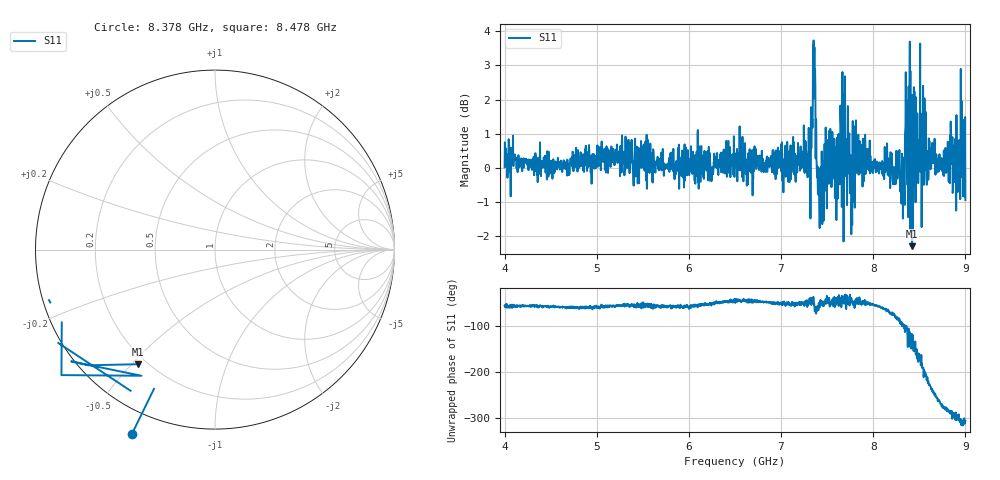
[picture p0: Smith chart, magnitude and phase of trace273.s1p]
! Created with skrf 1.8.0 (http://scikit-rf.org).
# Hz S RI R 50.0
!freq ReS11 ImS11
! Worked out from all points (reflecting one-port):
!   1601 points, 4 GHz to 9 GHz, reference 50 ohm
!   lowest |S11| = -2.3 dB at 8.422 GHz (marker M1), VSWR 7.65, Z = 8.36 - j26.1 ohm
!   phase of S11 starts at -56 deg and turns -250 deg over the sweep
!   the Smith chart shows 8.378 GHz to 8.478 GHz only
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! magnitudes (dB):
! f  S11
! 4 GHz  0.0
! 4.625 GHz  -0.1
! 5.25 GHz  0.2
! 5.875 GHz  -0.1
! 6.5 GHz  0.2
! 7.125 GHz  0.3
! 7.294 GHz  0.2
! 7.319 GHz  -1.5
! 7.347 GHz  3.6
! 7.372 GHz  2.4
! 7.4 GHz  -0.8
! 7.425 GHz  -1.6
! 7.509 GHz  -0.3
! 7.609 GHz  0.9
! 7.669 GHz  0.9
! 7.75 GHz  -0.2
! 7.775 GHz  0.9
! 7.828 GHz  0.5
! 8.272 GHz  0.3
! 8.316 GHz  0.0
! 8.334 GHz  -0.2
! 8.375 GHz  0.7
! 8.422 GHz  -2.3
! 8.522 GHz  1.6
! 8.597 GHz  -0.3
! 8.747 GHz  0.0
! 8.972 GHz  0.6
! 9 GHz  -0.9
